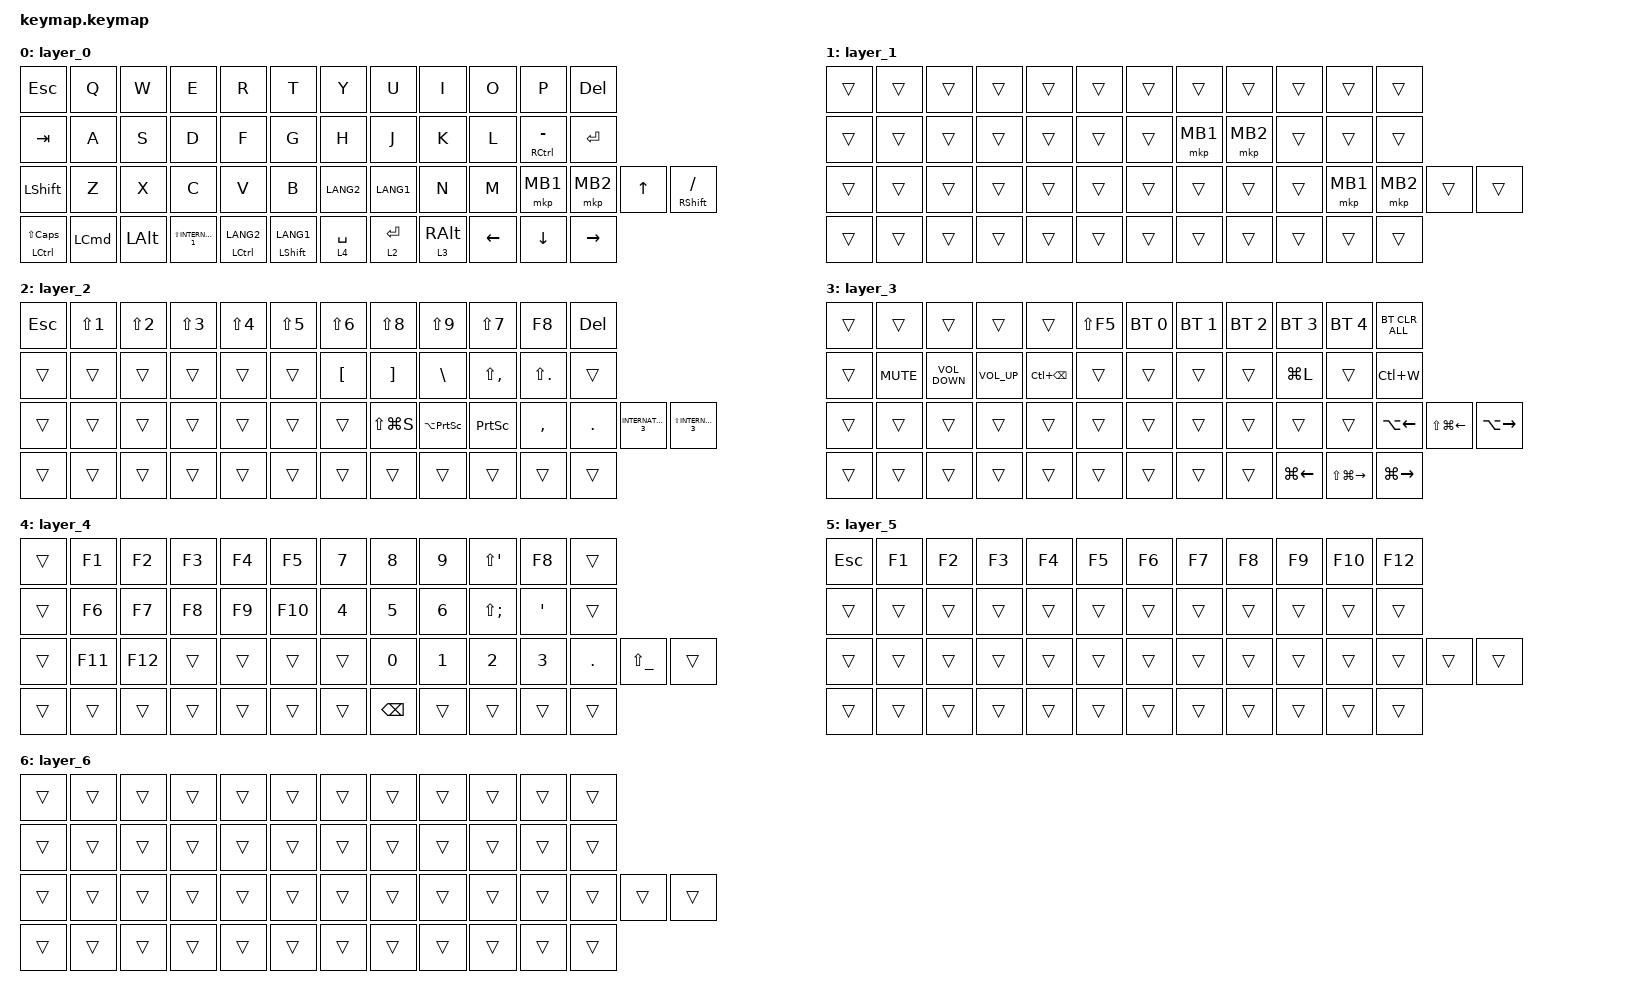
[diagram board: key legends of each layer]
#include <behaviors.dtsi>
#include <dt-bindings/zmk/bt.h>
#include <dt-bindings/zmk/keys.h>
#include <dt-bindings/zmk/pointing.h>

/ {
    combos {
        compatible = "zmk,combos";

        scroll_combo {
            bindings = <&mo 4>;
            key-positions = <34 35>;
            slow-release;
        };

        scroll_combo2 {
            bindings = <&mo 4>;
            key-positions = <19 20>;
            slow-release;
        };
    };

    keymap {
        compatible = "zmk,keymap";

        layer_0 {
            bindings = <
&kp ESCAPE          &kp Q             &kp W     &kp E                    &kp R            &kp T             &kp Y        &kp U        &kp I       &kp O           &kp P            &kp DELETE
&kp TAB             &kp A             &kp S     &kp D                    &kp F            &kp G             &kp H        &kp J        &kp K       &kp L           &mt RCTRL MINUS  &kp ENTER
&kp LSHFT           &kp Z             &kp X     &kp C                    &kp V            &kp B             &kp LANG2    &kp LANG1    &kp N       &kp M           &mkp MB1         &mkp MB2         &kp UP_ARROW  &mt RSHFT SLASH
&mt LCTRL LS(CAPS)  &kp LEFT_COMMAND  &kp LALT  &kp LS(INTERNATIONAL_1)  &mt LCTRL LANG2  &mt LSHIFT LANG1  &lt 4 SPACE  &lt 2 ENTER  &lt 3 RALT  &kp LEFT_ARROW  &kp DOWN_ARROW   &kp RIGHT_ARROW
            >;
        };

        layer_1 {
            bindings = <
&trans  &trans  &trans  &trans  &trans  &trans  &trans  &trans    &trans    &trans  &trans    &trans
&trans  &trans  &trans  &trans  &trans  &trans  &trans  &mkp MB1  &mkp MB2  &trans  &trans    &trans
&trans  &trans  &trans  &trans  &trans  &trans  &trans  &trans    &trans    &trans  &mkp MB1  &mkp MB2  &trans  &trans
&trans  &trans  &trans  &trans  &trans  &trans  &trans  &trans    &trans    &trans  &trans    &trans
            >;
        };

        layer_2 {
            bindings = <
&kp ESCAPE  &kp LS(N1)  &kp LS(N2)  &kp LS(N3)  &kp LS(N4)  &kp LS(N5)  &kp LS(N6)        &kp LS(N8)         &kp LS(N9)           &kp LS(N7)       &kp F8          &kp DELETE
&trans      &trans      &trans      &trans      &trans      &trans      &kp LEFT_BRACKET  &kp RIGHT_BRACKET  &kp BACKSLASH        &kp LS(COMMA)    &kp LS(PERIOD)  &trans
&trans      &trans      &trans      &trans      &trans      &trans      &trans            &kp LS(LG(S))      &kp LA(PRINTSCREEN)  &kp PRINTSCREEN  &kp COMMA       &kp PERIOD  &kp INTERNATIONAL_3  &kp LS(INTERNATIONAL_3)
&trans      &trans      &trans      &trans      &trans      &trans      &trans            &trans             &trans               &trans           &trans          &trans
            >;
        };

        layer_3 {
            bindings = <
&trans  &trans      &trans             &trans        &trans             &kp LS(F5)  &bt BT_SEL 0  &bt BT_SEL 1  &bt BT_SEL 2  &bt BT_SEL 3        &bt BT_SEL 4             &bt BT_CLR_ALL
&trans  &kp C_MUTE  &kp C_VOLUME_DOWN  &kp C_VOL_UP  &kp LC(BACKSPACE)  &trans      &trans        &trans        &trans        &kp LG(L)           &trans                   &kp LC(W)
&trans  &trans      &trans             &trans        &trans             &trans      &trans        &trans        &trans        &trans              &trans                   &kp LA(LEFT_ARROW)   &kp LS(LG(LEFT_ARROW))  &kp LA(RIGHT_ARROW)
&trans  &trans      &trans             &trans        &trans             &trans      &trans        &trans        &trans        &kp LG(LEFT_ARROW)  &kp LS(LG(RIGHT_ARROW))  &kp LG(RIGHT_ARROW)
            >;
        };

        layer_4 {
            bindings = <
&trans  &kp F1   &kp F2   &kp F3  &kp F4  &kp F5   &kp NUMBER_7  &kp NUMBER_8   &kp NUMBER_9  &kp LS(APOS)  &kp F8        &trans
&trans  &kp F6   &kp F7   &kp F8  &kp F9  &kp F10  &kp NUMBER_4  &kp N5         &kp NUMBER_6  &kp LS(SEMI)  &kp APOS      &trans
&trans  &kp F11  &kp F12  &trans  &trans  &trans   &trans        &kp N0         &kp NUMBER_1  &kp NUMBER_2  &kp NUMBER_3  &kp PERIOD  &kp LS(UNDERSCORE)  &trans
&trans  &trans   &trans   &trans  &trans  &trans   &trans        &kp BACKSPACE  &trans        &trans        &trans        &trans
            >;
        };

        layer_5 {
            bindings = <
&kp ESC  &kp F1  &kp F2  &kp F3  &kp F4  &kp F5  &kp F6  &kp F7  &kp F8  &kp F9  &kp F10  &kp F12
&trans   &trans  &trans  &trans  &trans  &trans  &trans  &trans  &trans  &trans  &trans   &trans
&trans   &trans  &trans  &trans  &trans  &trans  &trans  &trans  &trans  &trans  &trans   &trans   &trans  &trans
&trans   &trans  &trans  &trans  &trans  &trans  &trans  &trans  &trans  &trans  &trans   &trans
            >;
        };

        layer_6 {
            bindings = <
&trans  &trans  &trans  &trans  &trans  &trans  &trans  &trans  &trans  &trans  &trans  &trans
&trans  &trans  &trans  &trans  &trans  &trans  &trans  &trans  &trans  &trans  &trans  &trans
&trans  &trans  &trans  &trans  &trans  &trans  &trans  &trans  &trans  &trans  &trans  &trans  &trans  &trans
&trans  &trans  &trans  &trans  &trans  &trans  &trans  &trans  &trans  &trans  &trans  &trans
            >;
        };
    };
};
